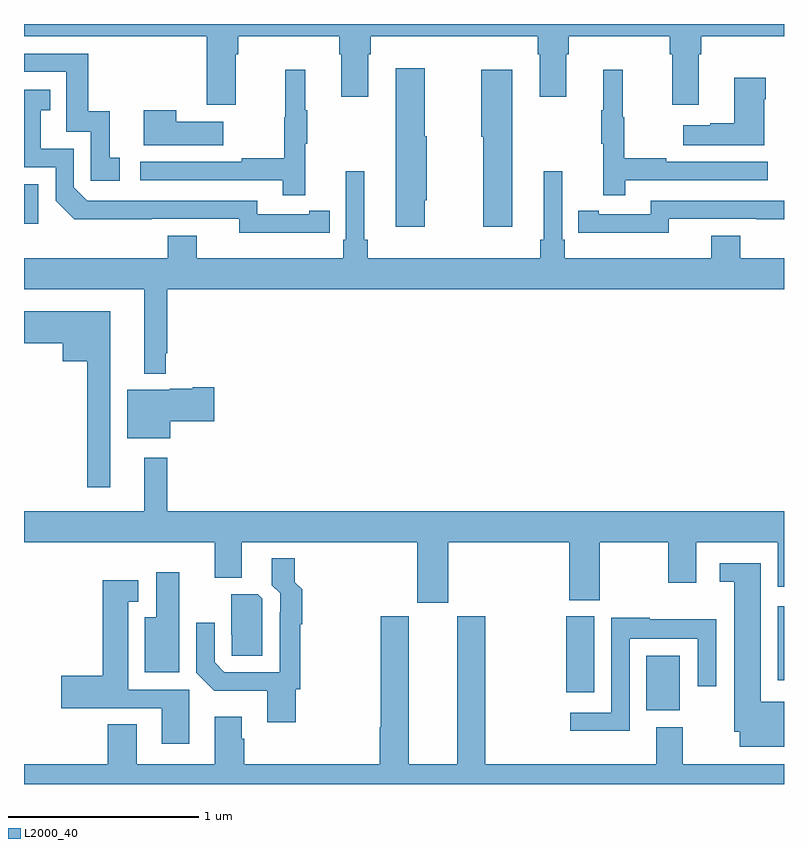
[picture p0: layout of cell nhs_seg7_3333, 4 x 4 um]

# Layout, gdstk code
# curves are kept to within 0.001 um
import gdstk
lib = gdstk.Library(unit=1e-6, precision=1e-09)
def R(c, l, rs):  # rectangles x0, y0, x1, y1
    for r in rs: c.add(gdstk.rectangle(r[:2], r[2:], *l))
def P(c, l, *ps):  # polygons
    for p in ps: c.add(gdstk.Polygon(p, *l))
L2000_40 = (2000, 40)

nhs_seg7_3333 = lib.new_cell('nhs_seg7_3333')
R(nhs_seg7_3333, L2000_40, [(326.276,1010.387,326.452,1010.674), (325.855,1010.484,326.002,1010.883), (326.966,1010.547,327,1010.935), (323,1012.95,323.076,1013.157)])
P(nhs_seg7_3333, L2000_40, [(324.115,1013.84),(324.128,1013.84),(324.128,1013.936),(324.659,1013.936),(324.659,1013.84),(324.671,1013.84),(324.671,1013.616),(324.811,1013.616),(324.811,1013.84),(324.824,1013.84),(324.824,1013.936),(325.703,1013.936),(325.703,1013.84),(325.715,1013.84),(325.715,1013.616),(325.855,1013.616),(325.855,1013.84),(325.868,1013.84),(325.868,1013.936),(326.399,1013.936),(326.399,1013.84),(326.411,1013.84),(326.411,1013.574),(326.551,1013.574),(326.551,1013.84),(326.564,1013.84),(326.564,1013.936),(327,1013.936),(327,1014),(323,1014),(323,1013.936),(323.963,1013.936),(323.963,1013.574),(324.115,1013.574)],
  [(323.503,1013.295),(323.45,1013.295),(323.45,1013.542),(323.339,1013.542),(323.339,1013.844),(323,1013.844),(323,1013.748),(323.223,1013.748),(323.223,1013.433),(323.352,1013.433),(323.352,1013.175),(323.503,1013.175)],
  [(325.11,1013.073),(325.12,1013.073),(325.12,1013.409),(325.11,1013.409),(325.11,1013.767),(324.956,1013.767),(324.956,1012.932),(325.11,1012.932)],
  [(324.479,1013.371),(324.49,1013.371),(324.49,1013.545),(324.479,1013.545),(324.479,1013.758),(324.376,1013.758),(324.376,1013.508),(324.369,1013.508),(324.369,1013.294),(324.145,1013.294),(324.145,1013.274),(323.613,1013.274),(323.613,1013.178),(324.361,1013.178),(324.361,1013.1),(324.479,1013.1)],
  [(326.165,1013.178),(326.914,1013.178),(326.914,1013.274),(326.381,1013.274),(326.381,1013.294),(326.158,1013.294),(326.158,1013.508),(326.15,1013.508),(326.15,1013.758),(326.048,1013.758),(326.048,1013.545),(326.037,1013.545),(326.037,1013.371),(326.048,1013.371),(326.048,1013.1),(326.165,1013.1)],
  [(325.57,1013.758),(325.406,1013.758),(325.406,1013.406),(325.417,1013.406),(325.417,1012.932),(325.57,1012.932)],
  [(326.896,1013.603),(326.904,1013.603),(326.904,1013.716),(326.738,1013.716),(326.738,1013.477),(326.612,1013.477),(326.612,1013.467),(326.469,1013.467),(326.469,1013.363),(326.896,1013.363)],
  [(324.5,1012.902),(324.608,1012.902),(324.608,1013.018),(324.5,1013.018),(324.5,1012.998),(324.228,1012.998),(324.228,1013.07),(323.334,1013.07),(323.262,1013.142),(323.262,1013.343),(323.089,1013.343),(323.089,1013.547),(323.138,1013.547),(323.138,1013.653),(323,1013.653),(323,1013.247),(323.166,1013.247),(323.166,1013.07),(323.264,1012.973),(324.132,1012.974),(324.132,1012.901)],
  [(324.049,1013.485),(323.801,1013.485),(323.801,1013.545),(323.63,1013.545),(323.63,1013.363),(324.049,1013.363)],
  [(323.747,1012.267),(323.755,1012.267),(323.755,1012.604),(327,1012.604),(327,1012.768),(326.771,1012.768),(326.771,1012.885),(326.618,1012.885),(326.618,1012.768),(325.847,1012.768),(325.847,1012.864),(325.833,1012.864),(325.833,1013.224),(325.736,1013.224),(325.736,1012.864),(325.717,1012.864),(325.717,1012.768),(324.809,1012.768),(324.809,1012.864),(324.79,1012.864),(324.79,1013.224),(324.693,1013.224),(324.693,1012.864),(324.68,1012.864),(324.68,1012.768),(323.908,1012.768),(323.908,1012.885),(323.756,1012.885),(323.756,1012.768),(323,1012.768),(323,1012.604),(323.633,1012.604),(323.633,1012.16),(323.747,1012.16)],
  [(326.394,1012.974),(326.854,1012.974),(326.854,1012.973),(327,1012.973),(327,1013.07),(326.298,1013.07),(326.298,1012.998),(326.026,1012.998),(326.026,1013.018),(325.918,1013.018),(325.918,1012.902),(326.026,1012.902),(326.026,1012.901),(326.394,1012.901)],
  [(323.455,1012.489),(323,1012.489),(323,1012.319),(323.204,1012.319),(323.204,1012.226),(323.334,1012.226),(323.334,1011.561),(323.455,1011.561)],
  [(323.77,1011.91),(324.001,1011.91),(324.001,1012.088),(323.888,1012.088),(323.888,1012.081),(323.766,1012.081),(323.766,1012.075),(323.543,1012.075),(323.543,1011.821),(323.77,1011.821)],
  [(325.234,1011.272),(325.871,1011.272),(325.871,1010.968),(326.031,1010.968),(326.031,1011.272),(326.392,1011.272),(326.392,1011.06),(326.539,1011.06),(326.539,1011.272),(326.966,1011.272),(326.966,1011.039),(327,1011.039),(327,1011.436),(323.755,1011.436),(323.755,1011.718),(323.633,1011.718),(323.633,1011.436),(323,1011.436),(323,1011.272),(324.005,1011.272),(324.005,1011.085),(324.145,1011.085),(324.145,1011.272),(325.07,1011.272),(325.07,1010.955),(325.234,1010.955)],
  [(324.429,1010.499),(324.454,1010.499),(324.454,1010.842),(324.464,1010.842),(324.464,1011.024),(324.425,1011.063),(324.425,1011.187),(324.305,1011.187),(324.305,1011.046),(324.348,1011.003),(324.348,1010.903),(324.345,1010.903),(324.345,1010.589),(324.054,1010.589),(324.003,1010.64),(324.003,1010.848),(323.907,1010.848),(323.907,1010.586),(324.001,1010.492),(324.281,1010.492),(324.281,1010.325),(324.429,1010.325)],
  [(326.981,1010.196),(327,1010.196),(327,1010.434),(326.878,1010.434),(326.878,1011.162),(326.661,1011.162),(326.661,1011.065),(326.738,1011.065),(326.738,1010.276),(326.768,1010.276),(326.768,1010.195),(326.981,1010.195)],
  [(323.818,1011.115),(323.696,1011.115),(323.696,1010.878),(323.636,1010.878),(323.636,1010.588),(323.818,1010.588)],
  [(323.869,1010.496),(323.548,1010.496),(323.548,1010.96),(323.602,1010.96),(323.602,1011.073),(323.414,1011.073),(323.414,1010.57),(323.196,1010.57),(323.196,1010.399),(323.457,1010.399),(323.457,1010.4),(323.726,1010.4),(323.726,1010.211),(323.869,1010.211)],
  [(324.255,1010.976),(324.231,1011),(324.092,1011),(324.092,1010.785),(324.093,1010.785),(324.093,1010.674),(324.255,1010.674)],
  [(327,1010.104),(326.467,1010.104),(326.467,1010.299),(326.327,1010.299),(326.327,1010.104),(325.428,1010.104),(325.428,1010.883),(325.28,1010.883),(325.28,1010.104),(325.024,1010.104),(325.024,1010.883),(324.877,1010.883),(324.877,1010.3),(324.872,1010.3),(324.872,1010.104),(324.158,1010.104),(324.158,1010.237),(324.145,1010.237),(324.145,1010.353),(324.005,1010.353),(324.005,1010.104),(323.593,1010.104),(323.593,1010.314),(323.441,1010.314),(323.441,1010.104),(323,1010.104),(323,1010),(327,1010)],
  [(326.187,1010.765),(326.547,1010.765),(326.547,1010.514),(326.643,1010.514),(326.643,1010.866),(326.294,1010.866),(326.294,1010.876),(326.091,1010.876),(326.091,1010.376),(325.875,1010.376),(325.875,1010.279),(326.187,1010.279)])

lib.write_gds('nhs_seg7_3333.gds')
